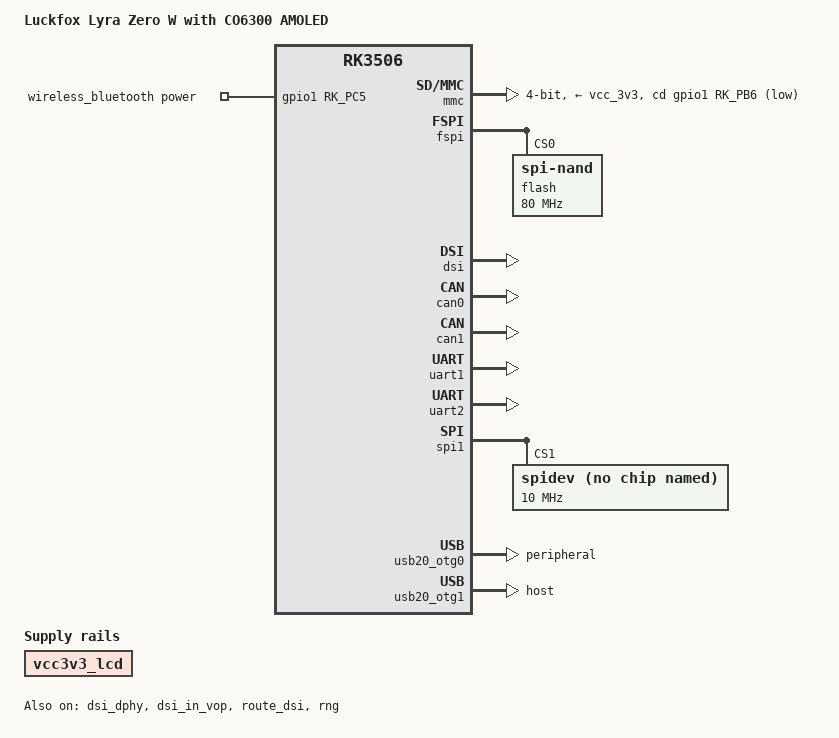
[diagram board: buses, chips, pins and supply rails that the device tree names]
// SPDX-License-Identifier: (GPL-2.0+ OR MIT)
/*
 * Copyright (c) 2024 Rockchip Electronics Co., Ltd.
 */

/dts-v1/;

#include "rk3506-luckfox-lyra-co6300.dtsi"

/ {
	model = "Luckfox Lyra Zero W with CO6300 AMOLED";
	compatible = "rockchip,rk3506g-demo-display-control", "rockchip,rk3506";

	chosen {
		bootargs = "console=tty1 fbcon=font:10x18 fbcon=rotate:3 vt.global_cursor_default=0 root=/dev/mtdblock2 rootfstype=squashfs ro rootwait";
	};

	wireless_bluetooth: wireless-bluetooth {
		compatible = "bluetooth-platdata";
		BT,power_gpio = <&gpio1 RK_PC5 GPIO_ACTIVE_HIGH>;
		status = "okay";
	};

	vcc3v3_lcd: vcc3v3-lcd {
		status = "okay";
		compatible = "regulator-fixed";
		pinctrl-names = "default";
		pinctrl-0 = <&lcd_pwren_h>;
		regulator-name = "vcc3v3_lcd";
		regulator-always-on;
	};
};

/**********media**********/
&mmc {
	/* For SDMMC */
	max-frequency = <52000000>;
	bus-width = <4>;
	no-sdio;
	no-mmc;
	cap-mmc-highspeed;
	cap-sd-highspeed;
	cd-gpios = <&gpio1 RK_PB6 GPIO_ACTIVE_LOW>; //det
	disable-wp;
	//sd-uhs-sdr104;
	pinctrl-names = "default";
	pinctrl-0 = <&sdmmc_clk_pins &sdmmc_cmd_pins &sdmmc_bus4_pins &sdmmc_det &sdmmc_pwren>;
	vqmmc-supply = <&vcc_3v3>;
	vmmc-supply = <&vcc_3v3>;
	status = "okay";
};

&fspi {
	status = "okay";

	flash@0 {
		compatible = "spi-nand";
		reg = <0>;
		spi-max-frequency = <80000000>;
		spi-rx-bus-width = <4>;
		spi-tx-bus-width = <1>;
	};
};

/**********display**********/
&cma {
	size = <0x2000000>;
};

&dsi {
	status = "okay";
};

&dsi_dphy {
	status = "okay";
};

&dsi_in_vop {
	status = "okay";
};

&route_dsi {
	status = "okay";
};

&dsi_panel {
	power-supply = <&vcc3v3_lcd>;
};

/**********ethernet**********/
&gmac1 {
	status = "disabled";
};

&rng {
	status = "okay";
};

/**********CAN**********/
/* Keep CAN RX on DMA1 so SPI1 and both UARTs fit DMA0's six channels. */
&can0 {
	assigned-clocks = <&cru CLK_CAN0>;
	assigned-clock-rates = <300000000>;
	dmas = <&dmac1 10 0xff288078 0x0c000400 0xff2880ac 0x03000000>;
	dma-names = "rx";
	pinctrl-names = "default";
	pinctrl-0 = <&rm_io27_can0_tx &rm_io28_can0_rx>;
	status = "okay";
};

&can1 {
	assigned-clocks = <&cru CLK_CAN1>;
	assigned-clock-rates = <300000000>;
	dmas = <&dmac1 11 0xff288078 0x30001000 0xff2880ac 0x0c000000>;
	dma-names = "rx";
	pinctrl-names = "default";
	pinctrl-0 = <&rm_io25_can1_tx &rm_io26_can1_rx>;
	status = "okay";
};

/**********UART**********/
&uart1 {
	/* PCB U1: TX pin 27 (GPIO1_B1), RX pin 26 (GPIO0_B1). */
	dma-names = "tx", "rx";
	pinctrl-names = "default";
	pinctrl-0 = <&rm_io24_uart1_tx &rm_io9_uart1_rx>;
	status = "okay";
};

&uart2 {
	/* PCB U1: TX pin 38 (GPIO0_C1), RX pin 36 (GPIO1_D1). */
	dma-names = "tx", "rx";
	pinctrl-names = "default";
	pinctrl-0 = <&rm_io17_uart2_tx &rm_io29_uart2_rx>;
	status = "okay";
};

/**********SPI**********/
&spi1 {
	/* PCB U1: CS1 pin 21, SCLK pin 23, MISO pin 22, MOSI pin 18. */
	pinctrl-names = "default";
	pinctrl-0 = <&rm_io7_spi1_csn1 &rm_io8_spi1_clk
		     &rm_io11_spi1_miso &rm_io12_spi1_mosi>;
	status = "okay";

	spidev@1 {
		compatible = "rockchip,spidev";
		reg = <1>;
		spi-max-frequency = <10000000>;
	};
};

/**********usb**********/
&usb20_otg0 {
	dr_mode = "peripheral";
	status = "okay";
};

&usb20_otg1 {
	dr_mode = "host";
	status = "okay";
};

/**********pinctrl**********/
&pinctrl {
	lcd {
		lcd_pwren_h: lcd-pwren-h {
			rockchip,pins = <1 RK_PC4 RK_FUNC_GPIO &pcfg_pull_up>;
		};
	};
};
